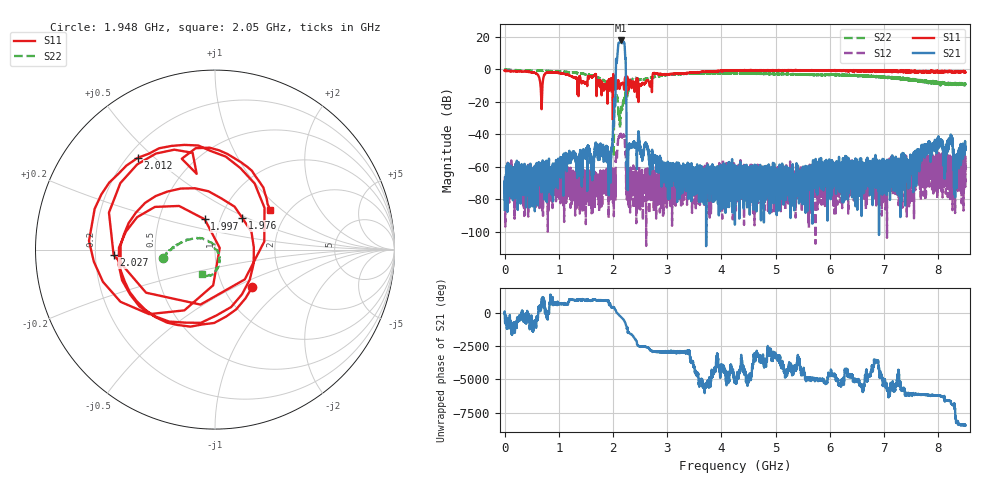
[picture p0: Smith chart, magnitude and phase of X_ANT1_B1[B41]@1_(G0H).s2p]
#  HZ  S  RI  R  50.00
! Rohde & Schwarz Vector Network Analyzer
! Rohde-Schwarz,ZNBT8-20Port,1318700624101681,3.50
! Created: UTC 7/15/2025, 2:09:31 PM
! freq[Hz]  re:S1010  im:S1010  re:S0610  im:S0610  re:S1006  im:S1006  re:S66  im:S66
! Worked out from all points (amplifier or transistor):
!   8500 points, 1 MHz to 8.5 GHz, reference 50 ohm
!   highest |S21| = 17.9 dB at 2.144 GHz (marker M1)
!   |S21| within 3 dB of that: 2.095 GHz to 2.215 GHz (119.7 MHz wide, 5.55 % of centre)
!   unconditionally stable (mu >= 1): start of sweep to end of sweep
!   at 1.417 GHz: K = 864415.70, MAG = -51.0 dB, |S12| = -77.9 dB
!   at 4.251 GHz: K = 111177.96, MAG = -51.0 dB, |S12| = -67.9 dB
!   at 8.5 GHz: K = 37222.13, MAG = -43.6 dB, |S12| = -59.1 dB
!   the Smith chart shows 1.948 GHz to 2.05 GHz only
!   S11 on the Smith chart (normalised r, x): 1.948 GHz: 1.36, -0.62; 1.976 GHz: 1.26, +0.47; 1.997 GHz: 0.84, +0.29; 2.012 GHz: 0.24, +0.44; 2.027 GHz: 0.28, -0.02; 2.05 GHz: 1.61, +0.84
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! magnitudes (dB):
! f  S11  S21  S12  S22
! 1 MHz  -0.8  -86.5  -71.4  -0.2
! 69 MHz  -0.9  -77.9  -67.5  -0.3
! 1.418 GHz  -8.6  -56.4  -73.6  -2.6
! 1.948 GHz  -10.6  -53.1  -71.8  -10.6
! 1.976 GHz  -12.7  -49.5  -72.7  -13.5
! 1.997 GHz  -15.0  -41.0  -81.9  -18.8
! 2.012 GHz  -3.5  -33.4  -67.2  -36.6
! 2.027 GHz  -4.9  -17.8  -65.4  -22.0
! 2.05 GHz  -8.4  -6.3  -60.7  -16.2
! 2.093 GHz  -7.1  14.1  -43.4  -22.6
! 2.144 GHz  -8.8  17.9  -39.8  -25.4
! 2.205 GHz  -12.3  16.5  -40.9  -17.9
! 2.292 GHz  -11.1  -46.8  -63.4  -12.1
! 2.612 GHz  -7.4  -46.4  -108.8  -5.8
! 2.834 GHz  -2.8  -56.6  -74.5  -4.1
! 4.251 GHz  -0.7  -62.9  -67.9  -2.6
! 5.667 GHz  -0.3  -60.4  -72.6  -3.3
! 7.084 GHz  -0.9  -58.6  -68.6  -4.9
! 8.013 GHz  -1.7  -45.7  -73.2  -8.5
! 8.227 GHz  -1.1  -43.4  -57.6  -9.0
! 8.323 GHz  -1.5  -72.9  -54.8  -8.5
! 8.5 GHz  -1.8  -48.8  -59.1  -9.0
